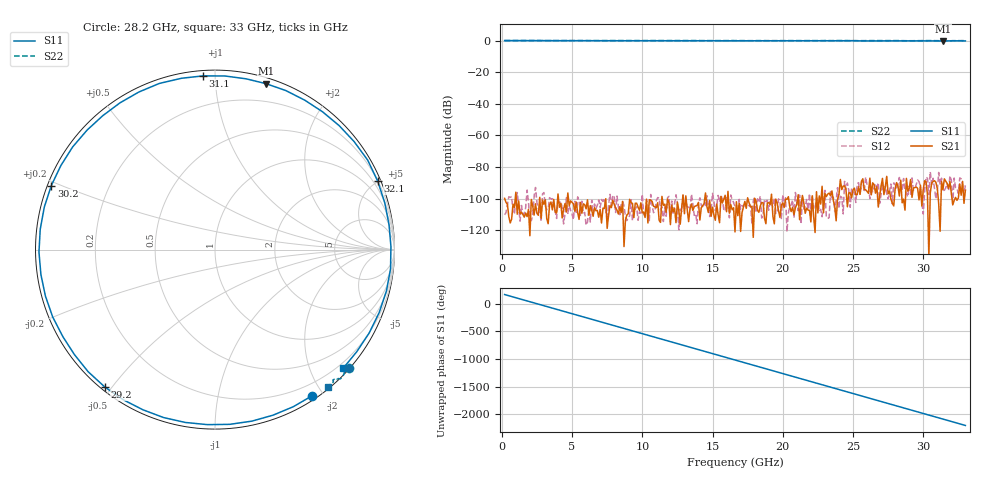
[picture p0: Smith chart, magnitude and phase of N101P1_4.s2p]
# GHZ S RI R 50
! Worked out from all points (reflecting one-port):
!   329 points, 200 MHz to 33 GHz, reference 50 ohm
!   lowest |S11| = -0.3 dB at 31.4 GHz (marker M1), VSWR 59.85, Z = 2.37 + j67.7 ohm
!   phase of S11 starts at 165 deg and turns -2368 deg over the sweep
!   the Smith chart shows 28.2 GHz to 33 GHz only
!   S11 on the Smith chart (normalised r, x): 28.2 GHz: 0.05, -1.87; 29.2 GHz: 0.01, -0.48; 30.2 GHz: 0.01, +0.19; 31.1 GHz: 0.03, +0.93; 32.1 GHz: 0.21, +4.94; 33 GHz: 0.10, -2.55
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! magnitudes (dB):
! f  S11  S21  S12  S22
! 200 MHz  0.0  -99.7  -110.2  0.0
! 5.7 GHz  -0.1  -109.1  -101.5  0.0
! 11.2 GHz  -0.2  -113.6  -99.8  0.0
! 16.6 GHz  -0.1  -120.9  -104.9  -0.1
! 22.1 GHz  -0.1  -98.2  -97.5  0.0
! 22.9 GHz  -0.2  -108.9  -101.7  0.0
! 23.3 GHz  -0.1  -96.4  -111.9  0.0
! 23.9 GHz  -0.2  -100.2  -92.9  0.0
! 24.1 GHz  -0.1  -87.8  -98.4  0.0
! 24.5 GHz  -0.2  -94.3  -93.9  0.0
! 24.9 GHz  -0.1  -99.4  -93.3  0.0
! 25.5 GHz  -0.2  -97.2  -97.7  -0.1
! 26.2 GHz  -0.3  -87.0  -99.8  0.0
! 27.6 GHz  -0.2  -95.1  -94.9  0.0
! 28.2 GHz  -0.2  -92.1  -90.9  0.0
! 28.8 GHz  -0.2  -87.1  -96.4  -0.1
! 29.2 GHz  -0.2  -99.1  -86.9  -0.1
! 30.2 GHz  -0.2  -89.2  -86.3  0.0
! 31.1 GHz  -0.3  -103.0  -83.4  -0.1
! 31.4 GHz  -0.3  -94.3  -94.7  -0.2
! 32.1 GHz  -0.1  -103.9  -103.2  -0.1
! 33 GHz  -0.2  -94.5  -91.3  -0.1
